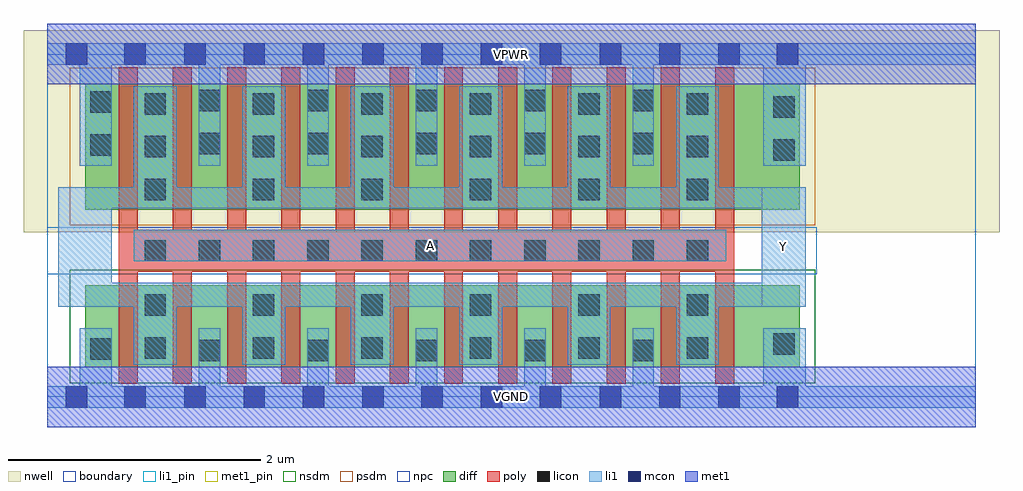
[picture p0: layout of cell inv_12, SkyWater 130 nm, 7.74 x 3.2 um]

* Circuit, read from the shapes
.subckt inv_12 A VGND VPWR Y
XM1 Y A VGND VSUBS sky130_fd_pr__nfet_01v8 w=0.65 l=0.15 m=12
XM2 Y A VPWR n1 sky130_fd_pr__pfet_01v8 w=1 l=0.15 m=12
.ends

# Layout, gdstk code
import gdstk
lib = gdstk.Library(unit=1e-6, precision=1e-09)
def R(c, l, rs):  # rectangles x0, y0, x1, y1
    for r in rs: c.add(gdstk.rectangle(r[:2], r[2:], *l))
def A(c, l, x, y, w, h, nx, ny, dx, dy):  # array of equal rectangles
    R(c, l, [(x+i*dx, y+j*dy, x+i*dx+w, y+j*dy+h) for i in range(nx) for j in range(ny)])
nwell = (64, 20)
diff = (65, 20)
poly = (66, 20)
licon = (66, 44)
li1_pin = (67, 16)
li1 = (67, 20)
mcon = (67, 44)
met1_pin = (68, 16)
met1 = (68, 20)
nsdm = (93, 44)
psdm = (94, 20)
npc = (95, 20)
boundary = (235, 4)

inv_12 = lib.new_cell('inv_12')
R(inv_12, nwell, [(-0.19,1.305,7.55,2.91), (0,1.305,7.36,2.91)])
R(inv_12, diff, [(0.3,0.235,5.965,0.885), (0.3,1.485,5.965,2.485)])
A(inv_12, poly, 0.565, 0.105, 0.15, 2.51, 12, 1, 0.43, 0)
R(inv_12, poly, [(0.565,0.995,5.445,1.325)])
A(inv_12, licon, 1.2, 0.285, 0.17, 0.17, 5, 2, 0.86, 1.64)
A(inv_12, licon, 0.77, 0.305, 0.17, 0.17, 6, 2, 0.86, 0.34)
A(inv_12, licon, 0.77, 1.075, 0.17, 0.17, 11, 1, 0.43, 0)
A(inv_12, licon, 0.77, 1.56, 0.17, 0.17, 6, 3, 0.86, 0.34)
A(inv_12, licon, 1.2, 2.265, 0.17, 0.17, 5, 1, 0.86, 0)
R(inv_12, licon, [(0.34,0.295,0.51,0.465), (5.755,0.335,5.925,0.505), (5.755,1.875,5.925,2.045), (0.34,1.915,0.51,2.085), (5.755,2.215,5.925,2.385), (0.34,2.255,0.51,2.425)])
R(inv_12, li1_pin, [(5.665,0.715,6.015,1.665), (0.685,1.075,5.385,1.325)])
A(inv_12, li1, 1.2, -0.085, 0.17, 0.63, 5, 1, 0.86, 0)
A(inv_12, li1, 0.685, 0.255, 0.34, 0.65, 6, 1, 0.86, 0)
A(inv_12, li1, 0.685, 1.495, 0.34, 0.97, 6, 1, 0.86, 0)
A(inv_12, li1, 1.2, 1.835, 0.17, 0.97, 5, 1, 0.86, 0)
R(inv_12, li1, [(0,-0.085,7.36,0.085), (0.255,-0.085,0.51,0.545), (5.675,-0.085,6.015,0.545), (0.085,0.715,6.015,0.905), (0.085,0.715,0.51,1.665), (5.665,0.715,6.015,1.665), (0.685,1.075,5.385,1.325), (0.085,1.495,6.015,1.665), (0.255,1.835,0.51,2.805), (5.675,1.835,6.015,2.805), (0,2.635,7.36,2.805)])
A(inv_12, mcon, 1.085, -0.085, 0.17, 0.17, 7, 2, 0.47, 2.72)
A(inv_12, mcon, 4.38, -0.085, 0.17, 0.17, 3, 2, 0.47, 2.72)
R(inv_12, mcon, [(0.145,-0.085,0.315,0.085), (0.61,-0.085,0.78,0.085), (5.785,-0.085,5.955,0.085), (0.145,2.635,0.315,2.805), (0.61,2.635,0.78,2.805), (5.785,2.635,5.955,2.805)])
R(inv_12, met1_pin, [(0,-0.24,7.36,0.24), (0,2.48,7.36,2.96)])
R(inv_12, met1, [(0,-0.24,7.36,0.24), (0,2.48,7.36,2.96)])
R(inv_12, nsdm, [(0.175,0.11,6.09,1.01)])
R(inv_12, psdm, [(0.175,1.36,6.09,2.61)])
R(inv_12, npc, [(0,0.975,6.1,1.345)])
R(inv_12, boundary, [(0,0,7.36,2.72)])
inv_12.add(gdstk.Label('A', (3.035,1.2), layer=67, texttype=5))
inv_12.add(gdstk.Label('Y', (5.84,1.19), layer=67, texttype=5))
inv_12.add(gdstk.Label('VPWR', (3.68,2.72), layer=68, texttype=5))
inv_12.add(gdstk.Label('VGND', (3.68,0), layer=68, texttype=5))
inv_12.add(gdstk.Label('A', (3.035,1.2), layer=67, texttype=16))
inv_12.add(gdstk.Label('Y', (5.84,1.19), layer=67, texttype=16))
inv_12.add(gdstk.Label('VPWR', (3.68,2.72), layer=68, texttype=16))
inv_12.add(gdstk.Label('VGND', (3.68,0), layer=68, texttype=16))

lib.write_gds('inv_12.gds')
